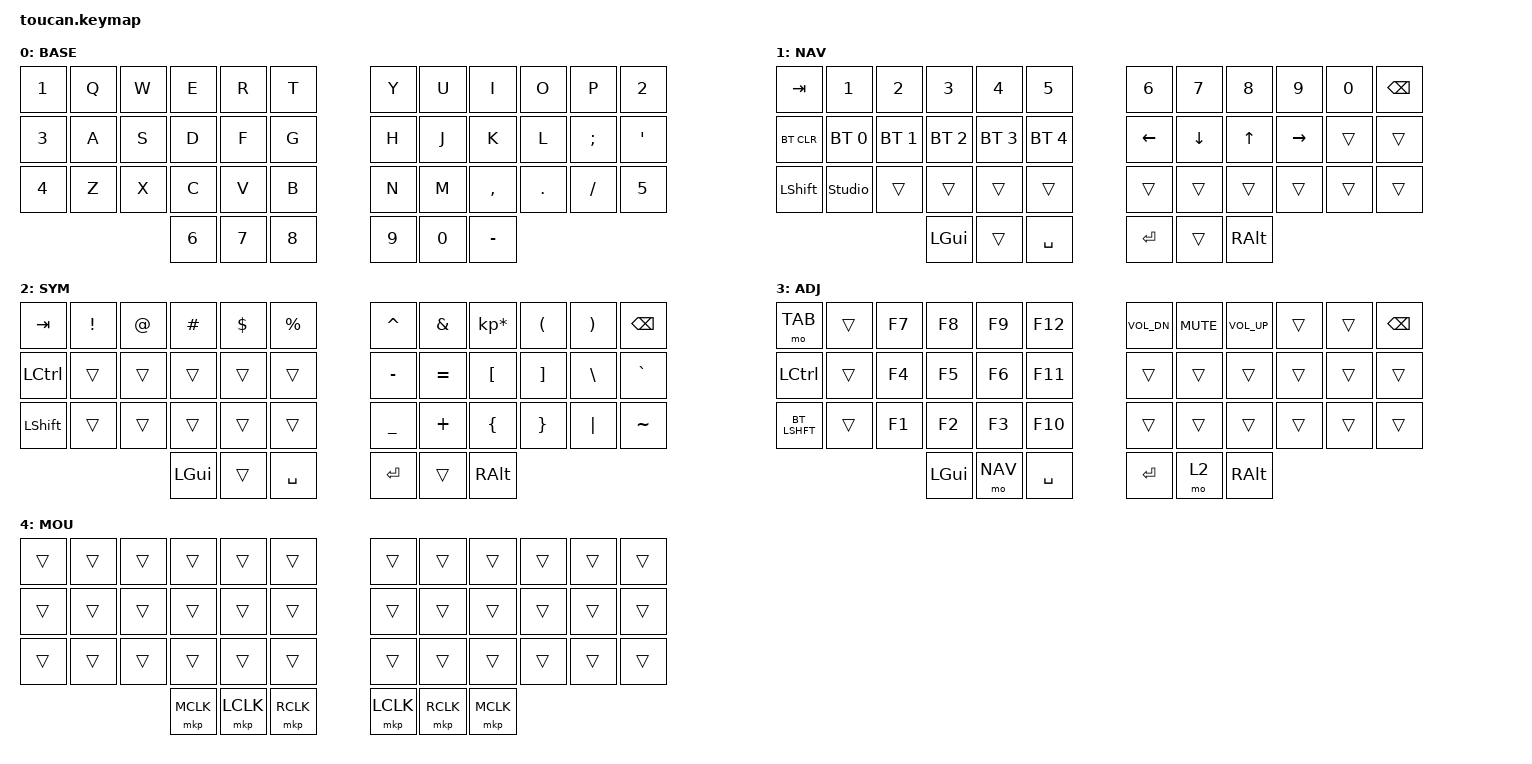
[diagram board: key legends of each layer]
#include <behaviors.dtsi>
#include <dt-bindings/zmk/keys.h>
#include <dt-bindings/zmk/bt.h>
#include <dt-bindings/zmk/outputs.h>
#include <dt-bindings/zmk/pointing.h>

#define BASE 0
#define NAV  1
#define SYM  2
#define ADJ  3

/ {
    conditional_layers {
        compatible = "zmk,conditional-layers";
        tri_layer {
            if-layers = <1 2>;
            then-layer = <3>;
        };
    };

    // Test keymap has no layer keys, so BT_CLR (normally on NAV) is a combo:
    // press F and G (left half, home row, inner side) together.
    combos {
        compatible = "zmk,combos";
        combo_bt_clear {
            timeout-ms = <50>;
            key-positions = <16 17>;
            bindings = <&bt BT_CLR>;
        };
        // E + R + T together reboots the left half into its UF2 bootloader,
        // so it can be flashed without reaching the reset button.
        combo_bootloader {
            timeout-ms = <50>;
            key-positions = <3 4 5>;
            bindings = <&bootloader>;
        };
    };

    // TEST KEYMAP: every key on the base layer types a distinct visible character
    // (outer and thumb keys are 1-9, 0 and -) so each switch can be checked by eye.
    keymap {
        compatible = "zmk,keymap";

        base {
            display-name = "BASE";
            bindings = <
                &kp N1    &kp Q &kp W &kp E &kp R &kp T   &kp Y &kp U  &kp I     &kp O   &kp P    &kp N2
                &kp N3    &kp A &kp S &kp D &kp F &kp G   &kp H &kp J  &kp K     &kp L   &kp SEMI &kp SQT
                &kp N4    &kp Z &kp X &kp C &kp V &kp B   &kp N &kp M  &kp COMMA &kp DOT &kp FSLH &kp N5
                                &kp N6 &kp N7 &kp N8   &kp N9 &kp N0 &kp MINUS
            >;
        };

        nav {
            display-name = "NAV";
            bindings = <
                &kp TAB     &kp N1          &kp N2       &kp N3       &kp N4       &kp N5         &kp N6   &kp N7   &kp N8 &kp N9    &kp N0 &kp BSPC
                &bt BT_CLR  &bt BT_SEL 0    &bt BT_SEL 1 &bt BT_SEL 2 &bt BT_SEL 3 &bt BT_SEL 4   &kp LEFT &kp DOWN &kp UP &kp RIGHT &trans &trans
                &kp LSHFT   &studio_unlock  &trans       &trans       &trans       &trans         &trans   &trans   &trans &trans    &trans &trans
                                                &kp LGUI     &trans       &kp SPACE      &kp RET  &trans   &kp RALT
            >;
        };

        sym {
            display-name = "SYM";
            bindings = <
                &kp TAB   &kp EXCL &kp AT &kp HASH &kp DLLR &kp PRCNT   &kp CARET &kp AMPS  &kp KP_MULTIPLY &kp LPAR &kp RPAR &kp BSPC
                &kp LCTRL &trans   &trans &trans   &trans   &trans      &kp MINUS &kp EQUAL &kp LBKT        &kp RBKT &kp BSLH &kp GRAVE
                &kp LSHFT &trans   &trans &trans   &trans   &trans      &kp UNDER &kp PLUS  &kp LBRC        &kp RBRC &kp PIPE &kp TILDE
                                          &kp LGUI &trans   &kp SPACE   &kp RET   &trans    &kp RALT
            >;
        };

        adj {
            display-name = "ADJ";
            bindings = <
                &mo TAB   &trans &kp F7 &kp F8 &kp F9 &kp F12   &kp C_VOL_DN &kp C_MUTE  &kp C_VOL_UP &trans &trans &kp BSPC
                &kp LCTRL &trans &kp F4 &kp F5 &kp F6 &kp F11   &trans       &trans      &trans       &trans &trans &trans
                &bt LSHFT &trans &kp F1 &kp F2 &kp F3 &kp F10   &trans       &trans      &trans       &trans &trans &trans
                                   &kp LGUI &mo NAV &kp SPACE   &kp RET &mo 2 &kp RALT
            >;
        };

        mouse {
            display-name = "MOU";
            bindings = <
                &trans &trans &trans &trans &trans &trans           &trans &trans &trans &trans &trans &trans
                &trans &trans &trans &trans &trans &trans           &trans &trans &trans &trans &trans &trans
                &trans &trans &trans &trans &trans &trans           &trans &trans &trans &trans &trans &trans
                            &mkp MCLK &mkp LCLK &mkp RCLK           &mkp LCLK &mkp RCLK &mkp MCLK
            >;
        };

        extra_2 {
                status = "reserved";
        };

        extra_3 {
                status = "reserved";
        };
    };
};
